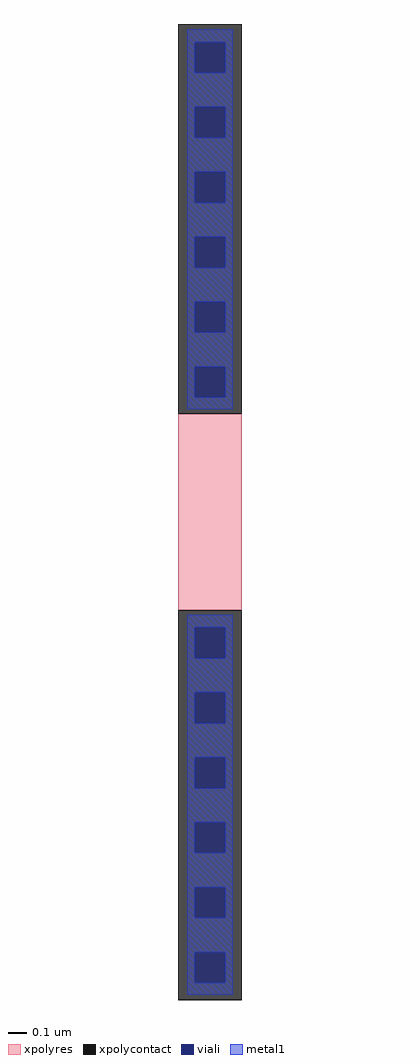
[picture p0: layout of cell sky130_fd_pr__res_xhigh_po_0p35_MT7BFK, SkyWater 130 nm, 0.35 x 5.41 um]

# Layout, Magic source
magic
tech sky130A
magscale 1 2
<< xpolycontact >>
rect -35 109 35 541
rect -35 -541 35 -109
<< xpolyres >>
rect -35 -109 35 109
<< viali >>
rect -17 487 17 521
rect -17 415 17 449
rect -17 343 17 377
rect -17 271 17 305
rect -17 199 17 233
rect -17 127 17 161
rect -17 -162 17 -128
rect -17 -234 17 -200
rect -17 -306 17 -272
rect -17 -378 17 -344
rect -17 -450 17 -416
rect -17 -522 17 -488
<< metal1 >>
rect -25 521 25 535
rect -25 487 -17 521
rect 17 487 25 521
rect -25 449 25 487
rect -25 415 -17 449
rect 17 415 25 449
rect -25 377 25 415
rect -25 343 -17 377
rect 17 343 25 377
rect -25 305 25 343
rect -25 271 -17 305
rect 17 271 25 305
rect -25 233 25 271
rect -25 199 -17 233
rect 17 199 25 233
rect -25 161 25 199
rect -25 127 -17 161
rect 17 127 25 161
rect -25 114 25 127
rect -25 -128 25 -114
rect -25 -162 -17 -128
rect 17 -162 25 -128
rect -25 -200 25 -162
rect -25 -234 -17 -200
rect 17 -234 25 -200
rect -25 -272 25 -234
rect -25 -306 -17 -272
rect 17 -306 25 -272
rect -25 -344 25 -306
rect -25 -378 -17 -344
rect 17 -378 25 -344
rect -25 -416 25 -378
rect -25 -450 -17 -416
rect 17 -450 25 -416
rect -25 -488 25 -450
rect -25 -522 -17 -488
rect 17 -522 25 -488
rect -25 -535 25 -522
<< end >>
